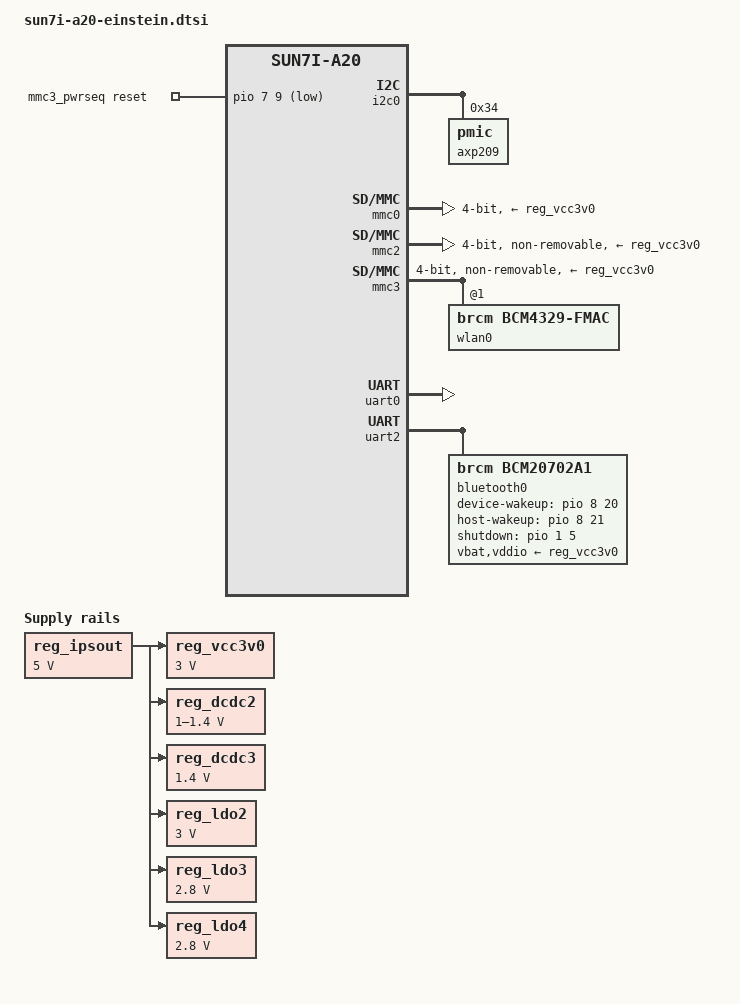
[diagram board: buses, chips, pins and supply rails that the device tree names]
// SPDX-License-Identifier: GPL-2.0 OR X11
/*
 * Copyright (C) 2018 Mans Rullgard <mans@mansr.com>
 */

#include "sun7i-a20.dtsi"
#include <dt-bindings/gpio/gpio.h>

/ {
	compatible = "cubietech,einstein", "allwinner,sun7i-a20";

	aliases {
		i2c0 = &i2c0;
		i2c1 = &i2c1;
		i2c2 = &i2c2;
		i2c3 = &i2c3;
		mmc0 = &mmc0;
		mmc1 = &mmc2;
		serial0 = &uart0;
		serial1 = &uart1;
		serial2 = &uart2;
		serial3 = &uart3;
		serial4 = &uart4;
		serial5 = &uart5;
		serial6 = &uart6;
		serial7 = &uart7;
	};

	chosen {
		stdout-path = "serial0:115200n8";
	};

	mmc3_pwrseq: mmc3_pwrseq {
		compatible = "mmc-pwrseq-simple";
		reset-gpios = <&pio 7 9 GPIO_ACTIVE_LOW>; /* PH9 */
		clocks = <&ccu CLK_OUT_A>;
		clock-names = "ext_clock";
	};

	reg_ipsout: ipsout {
		compatible = "regulator-fixed";
		regulator-name = "ipsout";
		regulator-min-microvolt = <5000000>;
		regulator-max-microvolt = <5000000>;
	};

	reg_vcc3v0: vcc3v0 {
		compatible = "regulator-fixed";
		regulator-name = "vcc3v0";
		regulator-min-microvolt = <3000000>;
		regulator-max-microvolt = <3000000>;
		vin-supply = <&reg_ipsout>;
	};
};

&ccu {
	assigned-clocks = <&ccu CLK_OUT_A>;
	assigned-clock-parents = <&osc32k>;
};

&cpu0 {
	cpu-supply = <&reg_dcdc2>;
};

&i2c0 {
	status = "okay";

	axp209: pmic@34 {
		reg = <0x34>;
		interrupt-parent = <&nmi_intc>;
		interrupts = <0 IRQ_TYPE_LEVEL_LOW>;
	};
};

&mmc0 {
	vmmc-supply = <&reg_vcc3v0>;
	bus-width = <4>;
};

&mmc2 {
	vmmc-supply = <&reg_vcc3v0>;
	bus-width = <4>;
	non-removable;
	status = "okay";
};

&mmc3 {
	vmmc-supply = <&reg_vcc3v0>;
	mmc-pwrseq = <&mmc3_pwrseq>;
	bus-width = <4>;
	non-removable;

	wlan0: wlan@1 {
		reg = <1>;
		compatible = "brcm,bcm4329-fmac";
	};
};

&pio {
	pinctrl-names = "default";
	pinctrl-0 = <&clk_out_a_pin>;
	vcc-pa-supply = <&reg_vcc3v0>;
	vcc-pb-supply = <&reg_vcc3v0>;
	vcc-pc-supply = <&reg_vcc3v0>;
	vcc-pd-supply = <&reg_vcc3v0>;
	vcc-pe-supply = <&reg_ldo3>;
	vcc-pf-supply = <&reg_vcc3v0>;
	vcc-pg-supply = <&reg_ldo3>;
	vcc-pi-supply = <&reg_vcc3v0>;
	vcc-ph-supply = <&reg_vcc3v0>;
};

&rtc {
	clocks = <&osc32k>;
};

&uart0 {
	pinctrl-names = "default";
	pinctrl-0 = <&uart0_pb_pins>;
	status = "okay";
};

&uart2 {
	pinctrl-names = "default";
	pinctrl-0 = <&uart2_pi_pins>, <&uart2_cts_rts_pi_pins>;
	uart-has-rtscts;
	status = "okay";

	bluetooth0: bluetooth {
		compatible = "brcm,bcm20702a1";
		clocks = <&ccu CLK_OUT_A>;
		clock-names = "lpo";
		device-wakeup-gpios = <&pio 8 20 GPIO_ACTIVE_HIGH>; /* PI20 */
		host-wakeup-gpios = <&pio 8 21 GPIO_ACTIVE_HIGH>; /* PI21 */
		shutdown-gpios = <&pio 1 5 GPIO_ACTIVE_HIGH>; /* PB5 */
		max-speed = <115200>;
		vbat-supply = <&reg_vcc3v0>;
		vddio-supply = <&reg_vcc3v0>;
	};
};

#include "axp209.dtsi"

&reg_dcdc2 {
	regulator-always-on;
	regulator-min-microvolt = <1000000>;
	regulator-max-microvolt = <1400000>;
	regulator-name = "vdd-cpu";
	vin-supply = <&reg_ipsout>;
};

&reg_dcdc3 {
	regulator-always-on;
	regulator-min-microvolt = <1400000>;
	regulator-max-microvolt = <1400000>;
	regulator-name = "vdd-sys";
	vin-supply = <&reg_ipsout>;
};

&reg_ldo1 {
	regulator-name = "vdd-rtc";
	vin-supply = <&reg_ipsout>;
};

&reg_ldo2 {
	regulator-always-on;
	regulator-min-microvolt = <3000000>;
	regulator-max-microvolt = <3000000>;
	regulator-name = "avcc";
	vin-supply = <&reg_ipsout>;
};

&reg_ldo3 {
	regulator-min-microvolt = <2800000>;
	regulator-max-microvolt = <2800000>;
	regulator-name = "csi-iovdd";
	vin-supply = <&reg_ipsout>;
};

&reg_ldo4 {
	regulator-min-microvolt = <2800000>;
	regulator-max-microvolt = <2800000>;
	regulator-name = "csi-avdd";
	vin-supply = <&reg_ipsout>;
};
